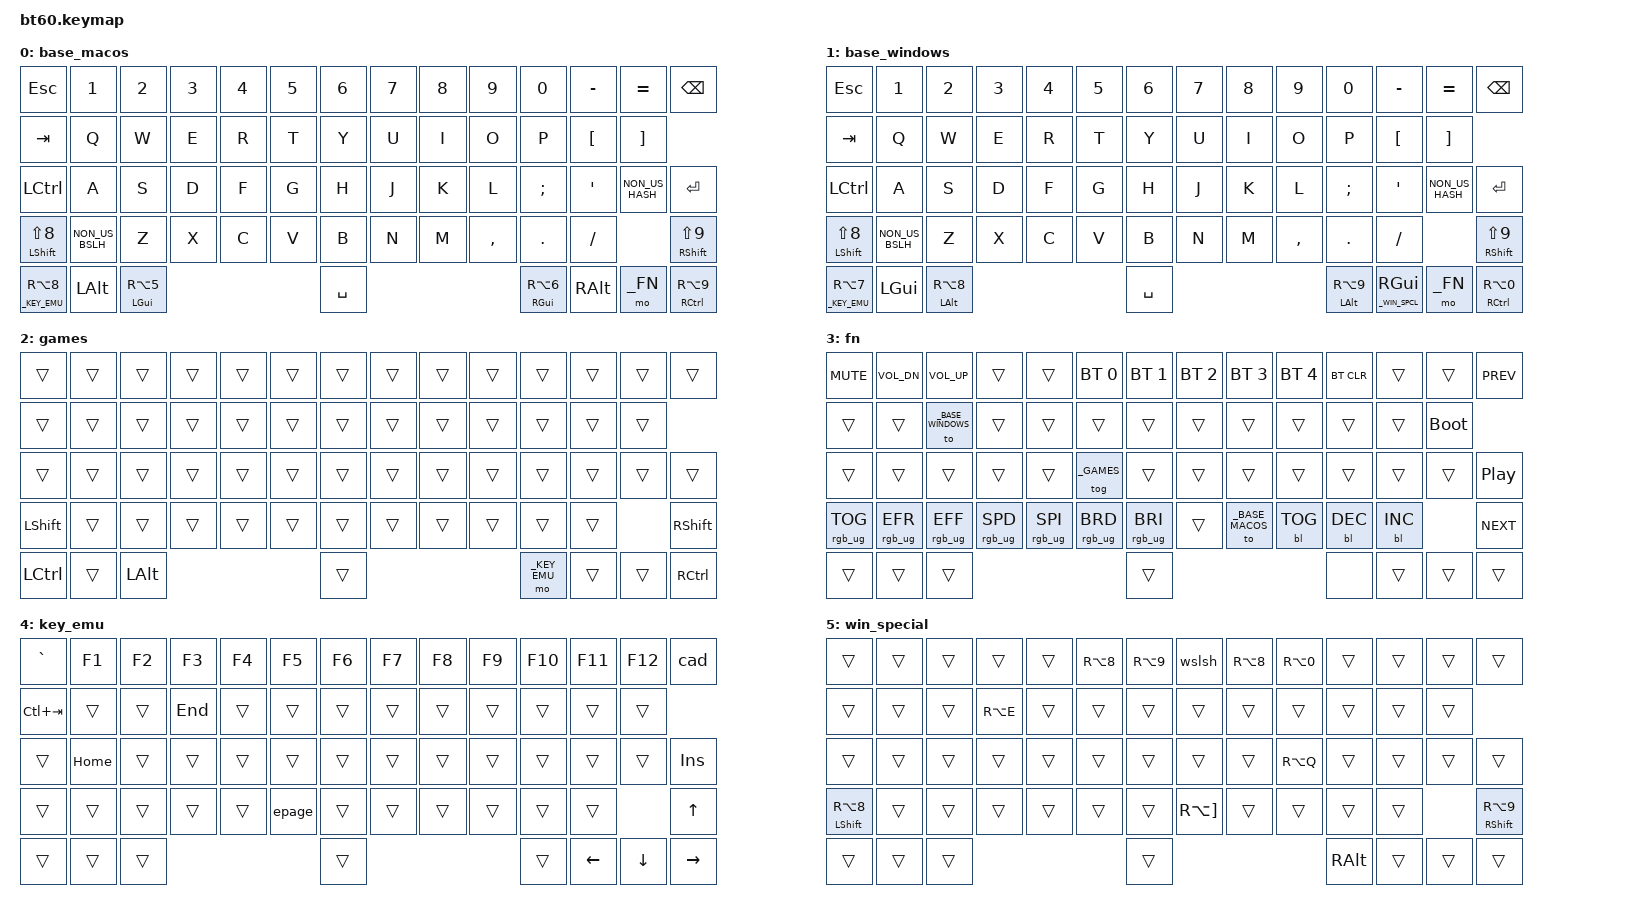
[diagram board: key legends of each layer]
#include <behaviors.dtsi>
#include <dt-bindings/zmk/keys.h>
#include <dt-bindings/zmk/bt.h>
#include <dt-bindings/zmk/rgb.h>
#include <dt-bindings/zmk/backlight.h>

#define _BASE_MACOS 0
#define _BASE_WINDOWS 1
#define _GAMES 2
#define _FN 3
#define _KEY_EMU 4
#define _WIN_SPCL 5

&caps_word {
    continue-list = <FSLH QMARK BACKSPACE>;
};

/ {
    combos {
        compatible = "zmk,combos";
        combo_caps_word {
            timeout-ms = <200>;
            key-positions = <41 53>;
            bindings = <&caps_word>;
        };
    };
    behaviors {
        epage: emacs_paging {
            compatible = "zmk,behavior-mod-morph";
            label = "EMACS_PAGING";
            #binding-cells = <0>;
            bindings = <&kp PG_DN>, <&kp PG_UP>;
            mods = <(MOD_LGUI|MOD_LALT)>;
        };
        wslsh: windows_slash {
            compatible = "zmk,behavior-mod-morph";
            label = "WINDOWS_SLASH";
            #binding-cells = <0>;
            bindings = <&kp RA(NUBS)>, <&kp RA(MINUS)>;
            mods = <(MOD_LSFT|MOD_RSFT)>;
        };
        cad: control_alt_delete {
            compatible = "zmk,behavior-mod-morph";
            label = "CONTROL_ALT_DELETE";
            #binding-cells = <0>;
            bindings = <&kp DEL>, <&kp LC(DEL)>;
            mods = <(MOD_LALT)>;
            keep-mods = <(MOD_LALT)>;
        };
    };

    keymap {
        compatible = "zmk,keymap";

        base_macos {
            bindings = <
                &kp ESC              &kp N1          &kp N2    &kp N3 &kp N4 &kp N5 &kp N6 &kp N7 &kp N8    &kp  N9   &kp  N0         &kp MINUS    &kp EQUAL        &kp BSPC
                &kp TAB              &kp Q           &kp W     &kp E  &kp R  &kp T  &kp Y  &kp U  &kp I     &kp  O    &kp  P          &kp LBKT     &kp RBKT
                &kp LCTRL            &kp A           &kp S     &kp D  &kp F  &kp G  &kp H  &kp J  &kp K     &kp  L    &kp SEMI        &kp SQT      &kp NON_US_HASH  &kp ENTER
                &mt LSHFT LS(N8)     &kp NON_US_BSLH &kp Z     &kp X  &kp C  &kp V  &kp B  &kp N  &kp M     &kp COMMA &kp DOT         &kp FSLH                      &mt RSHFT LS(N9)
                &lt _KEY_EMU RA(N8)  &kp LALT        &mt LGUI RA(N5)                &kp SPACE                         &mt RGUI RA(N6) &kp RALT     &mo _FN          &mt RCTRL RA(N9)
            >;
        };
        base_windows {
            bindings = <
                &kp ESC             &kp N1          &kp N2    &kp N3 &kp N4 &kp N5 &kp N6 &kp N7 &kp N8    &kp  N9   &kp  N0         &kp MINUS          &kp EQUAL        &kp BSPC
                &kp TAB             &kp Q           &kp W     &kp E  &kp R  &kp T  &kp Y  &kp U  &kp I     &kp  O    &kp  P          &kp LBKT           &kp RBKT
                &kp LCTRL           &kp A           &kp S     &kp D  &kp F  &kp G  &kp H  &kp J  &kp K     &kp  L    &kp SEMI        &kp SQT            &kp NON_US_HASH  &kp ENTER
                &mt LSHFT LS(N8)    &kp NON_US_BSLH &kp Z     &kp X  &kp C  &kp V  &kp B  &kp N  &kp M     &kp COMMA &kp DOT         &kp FSLH                            &mt RSHFT LS(N9)
                &lt _KEY_EMU RA(N7) &kp LGUI        &mt LALT RA(N8)                &kp SPACE                         &mt LALT RA(N9) &lt _WIN_SPCL RGUI &mo _FN          &mt RCTRL RA(N0)
            >;
        };
        games {
            bindings = <
                &trans    &trans      &trans    &trans &trans &trans &trans &trans &trans    &trans    &trans       &trans       &trans       &trans
                &trans    &trans      &trans    &trans &trans &trans &trans &trans &trans    &trans    &trans       &trans       &trans
                &trans    &trans      &trans    &trans &trans &trans &trans &trans &trans    &trans    &trans       &trans       &trans       &trans
                &kp LSHFT &trans      &trans    &trans &trans &trans &trans &trans &trans    &trans    &trans       &trans                    &kp RSHFT
                &kp LCTRL &trans      &kp LALT                       &trans                            &mo _KEY_EMU &trans       &trans       &kp RCTRL
            >;
        };
        fn {
            bindings = <
                &kp C_MUTE      &kp C_VOL_DN    &kp C_VOL_UP      &trans          &trans          &bt BT_SEL 0    &bt BT_SEL 1    &bt BT_SEL 2 &bt BT_SEL 3    &bt BT_SEL 4 &bt BT_CLR   &trans       &trans      &kp C_PREV
                &trans          &trans          &to _BASE_WINDOWS &trans          &trans          &trans          &trans          &trans       &trans          &trans       &trans       &trans       &bootloader
                &trans          &trans          &trans            &trans          &trans          &tog _GAMES     &trans          &trans       &trans          &trans       &trans       &trans       &trans      &kp C_PLAY_PAUSE
                &rgb_ug RGB_TOG &rgb_ug RGB_EFR &rgb_ug RGB_EFF   &rgb_ug RGB_SPD &rgb_ug RGB_SPI &rgb_ug RGB_BRD &rgb_ug RGB_BRI &trans       &to _BASE_MACOS &bl BL_TOG   &bl BL_DEC   &bl BL_INC               &kp C_NEXT
                &trans          &trans          &trans                                                            &trans                                                    &none        &trans       &trans      &trans
            >;
        };
        key_emu {
            bindings = <
                &kp GRAVE   &kp F1      &kp F2        &kp F3      &kp F4      &kp F5      &kp F6      &kp F7   &kp F8      &kp F9 &kp F10      &kp F11      &kp F12  &cad
                &kp LC(TAB) &trans      &trans        &kp END     &trans      &trans      &trans      &trans   &trans      &trans &trans       &trans       &trans
                &trans      &kp HOME    &trans        &trans      &trans      &trans      &trans      &trans   &trans      &trans &trans       &trans       &trans   &kp INSERT
                &trans      &trans      &trans        &trans      &trans      &epage      &trans      &trans   &trans      &trans &trans       &trans                &kp UP
                &trans      &trans      &trans                                            &trans                                  &trans       &kp LEFT     &kp DOWN &kp RIGHT
            >;
        };
        win_special {
            bindings = <
                &trans           &trans      &trans    &trans    &trans &kp RA(N8) &kp RA(N9) &wslsh       &kp RA(N8) &kp RA(N0) &trans       &trans       &trans       &trans
                &trans           &trans      &trans    &kp RA(E) &trans &trans     &trans     &trans       &trans     &trans     &trans       &trans       &trans
                &trans           &trans      &trans    &trans    &trans &trans     &trans     &trans       &trans     &kp RA(Q)  &trans       &trans       &trans       &trans
                &mt LSHFT RA(N8) &trans      &trans    &trans    &trans &trans     &trans     &kp RA(RBKT) &trans     &trans     &trans       &trans                    &mt RSHFT RA(N9)
                &trans           &trans      &trans                                &trans                                        &kp RALT     &trans       &trans       &trans
            >;
        };
    };
};
